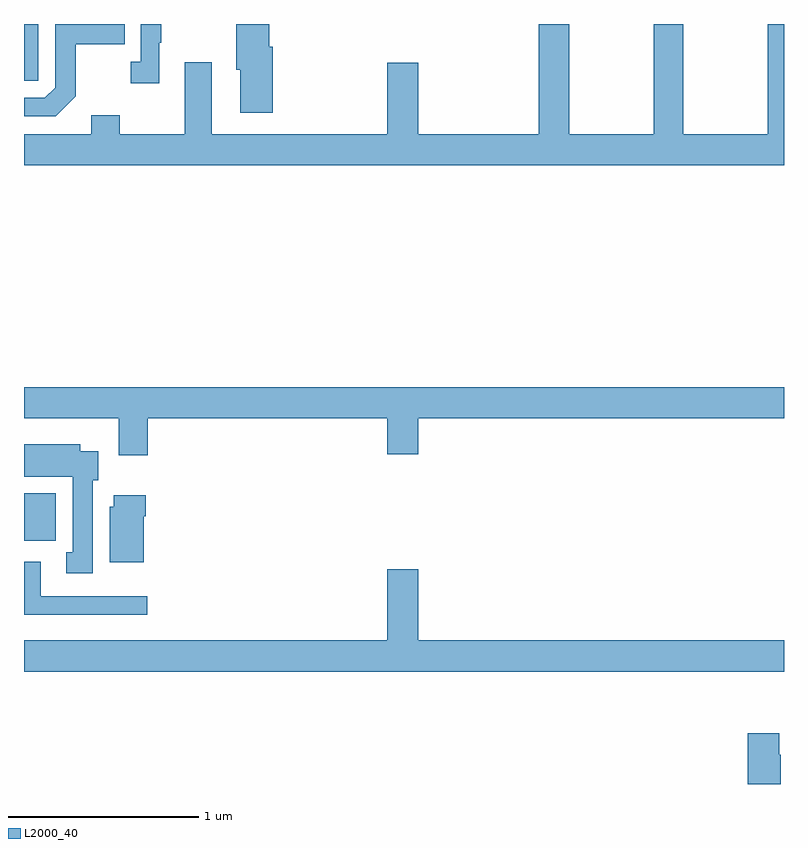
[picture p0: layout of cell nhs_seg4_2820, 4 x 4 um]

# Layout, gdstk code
import gdstk
lib = gdstk.Library(unit=1e-6, precision=1e-09)
def R(c, l, rs):  # rectangles x0, y0, x1, y1
    for r in rs: c.add(gdstk.rectangle(r[:2], r[2:], *l))
def P(c, l, *ps):  # polygons
    for p in ps: c.add(gdstk.Polygon(p, *l))
L2000_40 = (2000, 40)

nhs_seg4_2820 = lib.new_cell('nhs_seg4_2820')
R(nhs_seg4_2820, L2000_40, [(259,792.18,259.167,792.43), (259,794.601,259.074,794.9)])
P(nhs_seg4_2820, L2000_40, [(259.711,794.801),(259.723,794.801),(259.723,794.9),(259.614,794.9),(259.614,794.702),(259.563,794.702),(259.563,794.589),(259.711,794.589)],
  [(260.309,794.781),(260.291,794.781),(260.291,794.9),(260.116,794.9),(260.116,794.658),(260.138,794.658),(260.138,794.433),(260.309,794.433)],
  [(259.273,794.521),(259.273,794.794),(259.529,794.794),(259.529,794.9),(259.164,794.9),(259.164,794.565),(259.11,794.511),(259,794.511),(259,794.415),(259.167,794.415)],
  [(263,794.9),(262.915,794.9),(262.915,794.32),(262.47,794.32),(262.47,794.9),(262.315,794.9),(262.315,794.32),(261.87,794.32),(261.87,794.9),(261.71,794.9),(261.71,794.32),(261.076,794.32),(261.076,794.695),(260.912,794.695),(260.912,794.32),(259.987,794.32),(259.987,794.698),(259.847,794.698),(259.847,794.32),(259.503,794.32),(259.503,794.419),(259.355,794.419),(259.355,794.32),(259,794.32),(259,794.156),(263,794.156)],
  [(259.652,792.824),(260.912,792.824),(260.912,792.636),(261.076,792.636),(261.076,792.824),(263,792.824),(263,792.988),(259,792.988),(259,792.824),(259.499,792.824),(259.499,792.63),(259.652,792.63)],
  [(259.363,792.498),(259.39,792.498),(259.39,792.652),(259.297,792.652),(259.297,792.688),(259,792.688),(259,792.518),(259.256,792.518),(259.256,792.121),(259.223,792.121),(259.223,792.009),(259.363,792.009)],
  [(259.63,792.308),(259.642,792.308),(259.642,792.421),(259.472,792.421),(259.472,792.36),(259.451,792.36),(259.451,792.068),(259.63,792.068)],
  [(259.648,791.889),(259.087,791.889),(259.087,792.07),(259,792.07),(259,791.792),(259.648,791.792)],
  [(263,791.656),(261.076,791.656),(261.076,792.031),(260.912,792.031),(260.912,791.656),(259,791.656),(259,791.492),(263,791.492)],
  [(262.983,791.054),(262.975,791.054),(262.975,791.167),(262.808,791.167),(262.808,790.9),(262.983,790.9)])

lib.write_gds('nhs_seg4_2820.gds')
